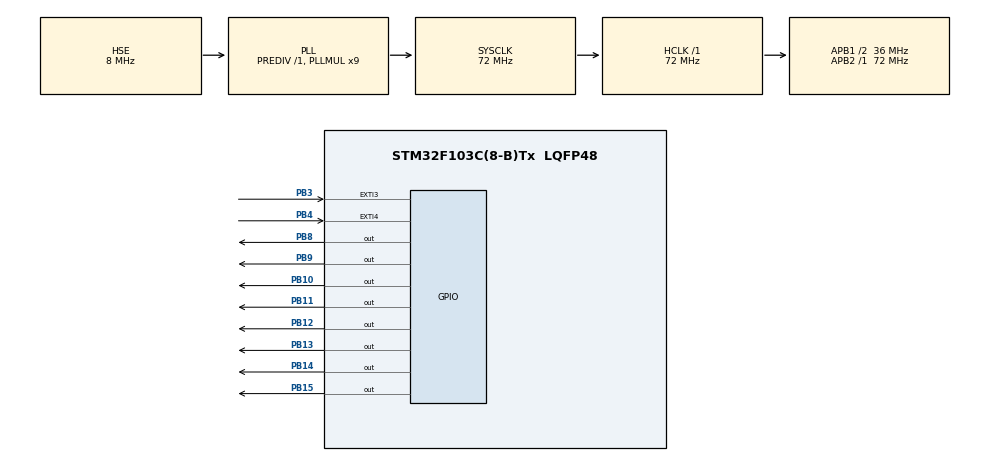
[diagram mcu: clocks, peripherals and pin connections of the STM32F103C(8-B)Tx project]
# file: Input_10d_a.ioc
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Mcu.Family=STM32F1
Mcu.Name=STM32F103C(8-B)Tx
Mcu.Package=LQFP48
NVIC.EXTI3_IRQn=true\:1\:0\:true\:false\:true\:true\:true\:true
NVIC.EXTI4_IRQn=true\:2\:0\:true\:false\:true\:true\:true\:true
NVIC.PriorityGroup=NVIC_PRIORITYGROUP_4
PA13.Mode=Serial_Wire
PA13.Signal=SYS_JTMS-SWDIO
PA14.Mode=Serial_Wire
PA14.Signal=SYS_JTCK-SWCLK
PB10.Signal=GPIO_Output
PB11.Signal=GPIO_Output
PB12.Signal=GPIO_Output
PB13.Signal=GPIO_Output
PB14.Signal=GPIO_Output
PB15.Signal=GPIO_Output
PB3.GPIO_ModeDefaultEXTI=GPIO_MODE_IT_RISING_FALLING
PB3.GPIO_PuPd=GPIO_PULLUP
PB3.Signal=GPXTI3
PB4.GPIO_ModeDefaultEXTI=GPIO_MODE_IT_RISING_FALLING
PB4.GPIO_PuPd=GPIO_PULLUP
PB4.Signal=GPXTI4
PB8.Signal=GPIO_Output
PB9.Signal=GPIO_Output
PD0-OSC_IN.Mode=HSE-External-Oscillator
PD0-OSC_IN.Signal=RCC_OSC_IN
PD1-OSC_OUT.Mode=HSE-External-Oscillator
PD1-OSC_OUT.Signal=RCC_OSC_OUT
ProjectManager.HeapSize=0x200
ProjectManager.StackSize=0x400
ProjectManager.TargetToolchain=MDK-ARM V5.32
RCC.AHBFreq_Value=72000000
RCC.APB1CLKDivider=RCC_HCLK_DIV2
RCC.APB1Freq_Value=36000000
RCC.APB1TimFreq_Value=72000000
RCC.APB2Freq_Value=72000000
RCC.APB2TimFreq_Value=72000000
RCC.HCLKFreq_Value=72000000
RCC.PLLMUL=RCC_PLL_MUL9
RCC.PLLSourceVirtual=RCC_PLLSOURCE_HSE
RCC.SYSCLKFreq_VALUE=72000000
RCC.SYSCLKSource=RCC_SYSCLKSOURCE_PLLCLK
RCC.USBFreq_Value=72000000
board=custom

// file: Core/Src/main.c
/* USER CODE BEGIN Header */
/**
  ******************************************************************************
  * @file           : main.c
  * @brief          : Main program body
  ******************************************************************************
  * @attention
  *
  * Copyright (c) 2022 STMicroelectronics.
  * All rights reserved.
  *
  * This software is licensed under terms that can be found in the LICENSE file
  * in the root directory of this software component.
  * If no LICENSE file comes with this software, it is provided AS-IS.
  *
  ******************************************************************************
  */
/* USER CODE END Header */
#include "main.h"

/* USER CODE BEGIN PV */
uint8_t bin[8];
int isPress1 = 0;
int isPress2 = 0;
uint32_t timePress1;
uint32_t start;
/* USER CODE END PV */

void SystemClock_Config(void);
static void MX_GPIO_Init(void);

/* USER CODE BEGIN 0 */
void chuyen_he(int dec)
{
	for(int i = 0; i < 8; i++)
	{
		bin[i] = dec%2;
		dec/=2;
	}
}

void increase_1(void)
{
	isPress1 = 0;
	isPress2 = 0;
	for(int i = 0; i < 255; i++)
	{
		if(isPress2 >= 1||isPress1 == 1)
		{
			break;
		}
		chuyen_he(i);
		HAL_GPIO_WritePin(GPIOB, GPIO_PIN_8, bin[0]);
		HAL_GPIO_WritePin(GPIOB, GPIO_PIN_9, bin[1]);
		HAL_GPIO_WritePin(GPIOB, GPIO_PIN_10, bin[2]);
		HAL_GPIO_WritePin(GPIOB, GPIO_PIN_11, bin[3]);
		HAL_GPIO_WritePin(GPIOB, GPIO_PIN_12, bin[4]);
		HAL_GPIO_WritePin(GPIOB, GPIO_PIN_13, bin[5]);
		HAL_GPIO_WritePin(GPIOB, GPIO_PIN_14, bin[6]);
		HAL_GPIO_WritePin(GPIOB, GPIO_PIN_15, bin[7]);
		HAL_Delay(1000);
	}
}

void reduce_1(void)
{
	isPress1 = 0;
	isPress2 = 0;
	for(int i = 255; i >=0; i--)
	{
		if(isPress2 >= 1||isPress1 == 1)
		{
			break;
		}
		chuyen_he(i);
		HAL_GPIO_WritePin(GPIOB, GPIO_PIN_8, bin[0]);
		HAL_GPIO_WritePin(GPIOB, GPIO_PIN_9, bin[1]);
		HAL_GPIO_WritePin(GPIOB, GPIO_PIN_10, bin[2]);
		HAL_GPIO_WritePin(GPIOB, GPIO_PIN_11, bin[3]);
		HAL_GPIO_WritePin(GPIOB, GPIO_PIN_12, bin[4]);
		HAL_GPIO_WritePin(GPIOB, GPIO_PIN_13, bin[5]);
		HAL_GPIO_WritePin(GPIOB, GPIO_PIN_14, bin[6]);
		HAL_GPIO_WritePin(GPIOB, GPIO_PIN_15, bin[7]);
		HAL_Delay(1000);
	}
}

void led_off(void)
{
		HAL_GPIO_WritePin(GPIOB, GPIO_PIN_8, 0);
		HAL_GPIO_WritePin(GPIOB, GPIO_PIN_9, 0);
		HAL_GPIO_WritePin(GPIOB, GPIO_PIN_10, 0);
		HAL_GPIO_WritePin(GPIOB, GPIO_PIN_11, 0);
		HAL_GPIO_WritePin(GPIOB, GPIO_PIN_12, 0);
		HAL_GPIO_WritePin(GPIOB, GPIO_PIN_13, 0);
		HAL_GPIO_WritePin(GPIOB, GPIO_PIN_14, 0);
		HAL_GPIO_WritePin(GPIOB, GPIO_PIN_15, 0);
}

void Toggle(void)
{
			HAL_GPIO_TogglePin(GPIOB, GPIO_PIN_8);
			HAL_GPIO_TogglePin(GPIOB, GPIO_PIN_9);
			HAL_GPIO_TogglePin(GPIOB, GPIO_PIN_10);
			HAL_GPIO_TogglePin(GPIOB, GPIO_PIN_11);
			HAL_GPIO_TogglePin(GPIOB, GPIO_PIN_12);
			HAL_GPIO_TogglePin(GPIOB, GPIO_PIN_13);
			HAL_GPIO_TogglePin(GPIOB, GPIO_PIN_14);
			HAL_GPIO_TogglePin(GPIOB, GPIO_PIN_15);
}

/* USER CODE END 0 */

int main(void)
{

  /* MCU Configuration--------------------------------------------------------*/

  /* Reset of all peripherals, Initializes the Flash interface and the Systick. */
  HAL_Init();

  /* Configure the system clock */
  SystemClock_Config();

  /* Initialize all configured peripherals */
  MX_GPIO_Init();
  /* USER CODE BEGIN 2 */
	led_off();
  /* USER CODE END 2 */

  /* Infinite loop */
  while (1)
  {

    /* USER CODE BEGIN 3 */

		if(isPress1 >= 1)
		{
			while(1)
			{
				HAL_Delay(10);
				timePress1+=1;
				if(isPress1 >= 2)
				{
					isPress2 = 0;
					isPress1 = 0;
					break;
				}
			}
		}
		if(timePress1 > 0 && timePress1 < 100)
		{
			timePress1 = 0;
			isPress1 = 0;
			Toggle();
		}
		if(timePress1 >= 100 && timePress1 < 500)
		{
			timePress1 = 0;
			increase_1();
		}
		if(timePress1 >= 500)
		{
			timePress1 = 0;
			reduce_1();
		}
		if(isPress2 >= 1)
		{
			timePress1 = 0;
			isPress1 = 0;
			isPress2 = 0;
			led_off();
		}
	}
}

  /* USER CODE END 3 */

void SystemClock_Config(void)
{
  RCC_OscInitTypeDef RCC_OscInitStruct = {0};
  RCC_ClkInitTypeDef RCC_ClkInitStruct = {0};

  /** Initializes the RCC Oscillators according to the specified parameters
  * in the RCC_OscInitTypeDef structure.
  */
  RCC_OscInitStruct.OscillatorType = RCC_OSCILLATORTYPE_HSE;
  RCC_OscInitStruct.HSEState = RCC_HSE_ON;
  RCC_OscInitStruct.HSEPredivValue = RCC_HSE_PREDIV_DIV1;
  RCC_OscInitStruct.HSIState = RCC_HSI_ON;
  RCC_OscInitStruct.PLL.PLLState = RCC_PLL_ON;
  RCC_OscInitStruct.PLL.PLLSource = RCC_PLLSOURCE_HSE;
  RCC_OscInitStruct.PLL.PLLMUL = RCC_PLL_MUL9;
  if (HAL_RCC_OscConfig(&RCC_OscInitStruct) != HAL_OK)
  {
    Error_Handler();
  }

  /** Initializes the CPU, AHB and APB buses clocks
  */
  RCC_ClkInitStruct.ClockType = RCC_CLOCKTYPE_HCLK|RCC_CLOCKTYPE_SYSCLK
                              |RCC_CLOCKTYPE_PCLK1|RCC_CLOCKTYPE_PCLK2;
  RCC_ClkInitStruct.SYSCLKSource = RCC_SYSCLKSOURCE_PLLCLK;
  RCC_ClkInitStruct.AHBCLKDivider = RCC_SYSCLK_DIV1;
  RCC_ClkInitStruct.APB1CLKDivider = RCC_HCLK_DIV2;
  RCC_ClkInitStruct.APB2CLKDivider = RCC_HCLK_DIV1;

  if (HAL_RCC_ClockConfig(&RCC_ClkInitStruct, FLASH_LATENCY_2) != HAL_OK)
  {
    Error_Handler();
  }
}

static void MX_GPIO_Init(void)
{
  GPIO_InitTypeDef GPIO_InitStruct = {0};

  /* GPIO Ports Clock Enable */
  __HAL_RCC_GPIOD_CLK_ENABLE();
  __HAL_RCC_GPIOB_CLK_ENABLE();
  __HAL_RCC_GPIOA_CLK_ENABLE();

  /*Configure GPIO pin Output Level */
  HAL_GPIO_WritePin(GPIOB, GPIO_PIN_10|GPIO_PIN_11|GPIO_PIN_12|GPIO_PIN_13
                          |GPIO_PIN_14|GPIO_PIN_15|GPIO_PIN_8|GPIO_PIN_9, GPIO_PIN_RESET);

  /*Configure GPIO pins : PB10 PB11 PB12 PB13
                           PB14 PB15 PB8 PB9 */
  GPIO_InitStruct.Pin = GPIO_PIN_10|GPIO_PIN_11|GPIO_PIN_12|GPIO_PIN_13
                          |GPIO_PIN_14|GPIO_PIN_15|GPIO_PIN_8|GPIO_PIN_9;
  GPIO_InitStruct.Mode = GPIO_MODE_OUTPUT_PP;
  GPIO_InitStruct.Pull = GPIO_NOPULL;
  GPIO_InitStruct.Speed = GPIO_SPEED_FREQ_LOW;
  HAL_GPIO_Init(GPIOB, &GPIO_InitStruct);

  /*Configure GPIO pins : PB3 PB4 */
  GPIO_InitStruct.Pin = GPIO_PIN_3|GPIO_PIN_4;
  GPIO_InitStruct.Mode = GPIO_MODE_IT_RISING_FALLING;
  GPIO_InitStruct.Pull = GPIO_PULLUP;
  HAL_GPIO_Init(GPIOB, &GPIO_InitStruct);

  /* EXTI interrupt init*/
  HAL_NVIC_SetPriority(EXTI3_IRQn, 1, 0);
  HAL_NVIC_EnableIRQ(EXTI3_IRQn);

  HAL_NVIC_SetPriority(EXTI4_IRQn, 2, 0);
  HAL_NVIC_EnableIRQ(EXTI4_IRQn);

}

void Error_Handler(void)
{
  __disable_irq();
  while (1)
  {
  }
}
